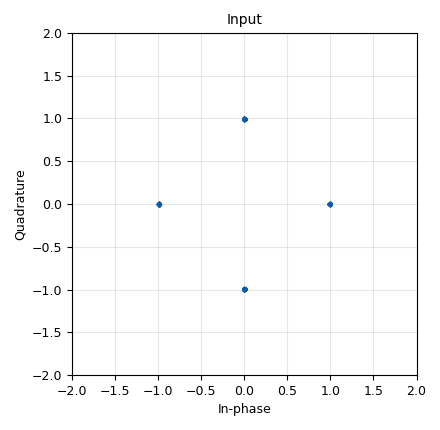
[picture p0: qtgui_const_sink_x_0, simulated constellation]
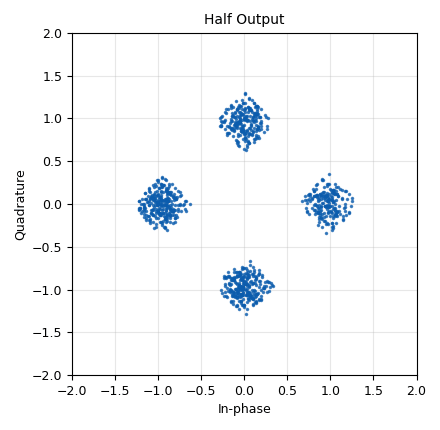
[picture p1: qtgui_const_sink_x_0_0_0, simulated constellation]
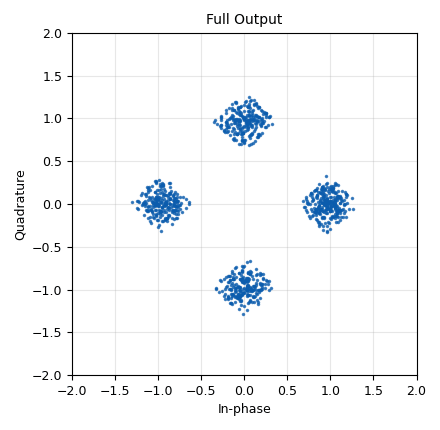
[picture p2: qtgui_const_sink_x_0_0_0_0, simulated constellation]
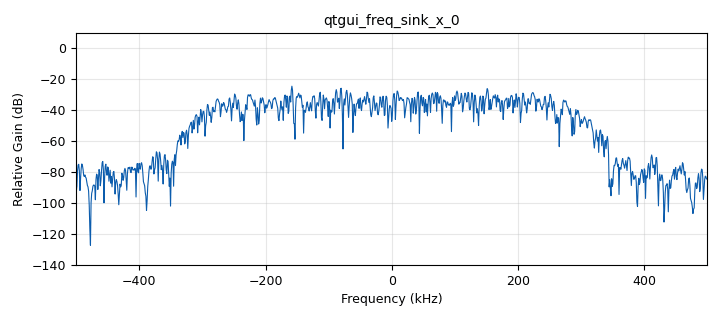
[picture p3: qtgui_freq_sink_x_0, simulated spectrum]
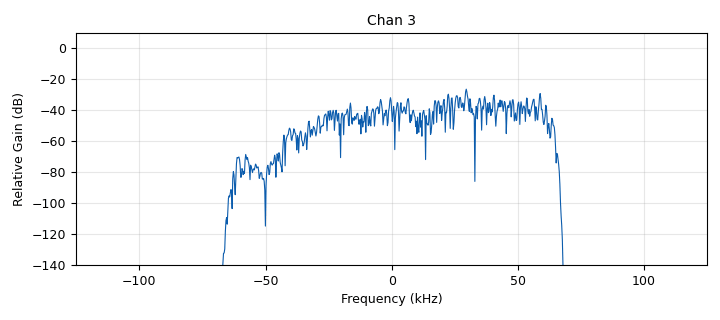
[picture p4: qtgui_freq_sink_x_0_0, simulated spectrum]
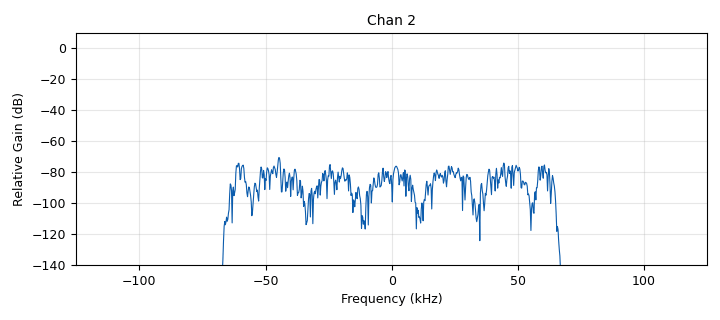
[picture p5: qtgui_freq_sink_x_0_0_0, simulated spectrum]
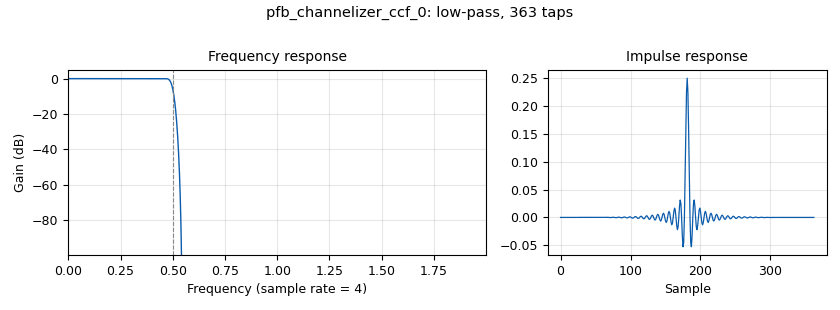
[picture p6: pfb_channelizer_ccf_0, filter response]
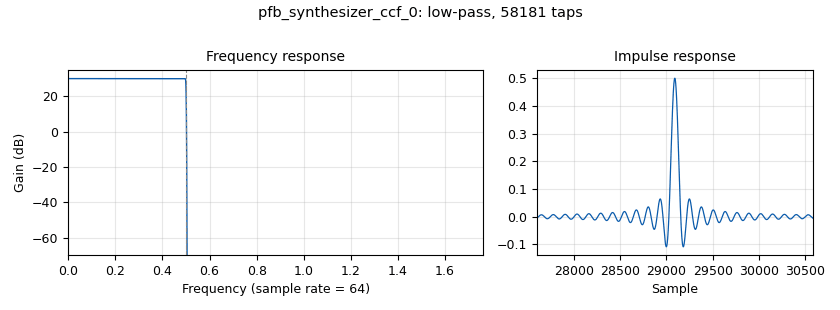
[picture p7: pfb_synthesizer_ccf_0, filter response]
<?xml version='1.0' encoding='utf-8'?>
<?grc format='1' created='3.7.10'?>
<flow_graph>
<block>
<key>options</key>
<param><key>id</key><value>reconstruct1</value></param>
<param><key>category</key><value>Custom</value></param>
<param><key>generate_options</key><value>qt_gui</value></param>
</block>
<block>
<key>variable</key>
<param><key>id</key><value>chan_taps</value></param>
<param><key>value</key><value>firdes.low_pass_2(1,chanz,0.5,0.05,100,5)</value></param>
</block>
<block>
<key>variable</key>
<param><key>id</key><value>chanz</value></param>
<param><key>value</key><value>4</value></param>
</block>
<block>
<key>variable_qtgui_range</key>
<param><key>id</key><value>delay_out</value></param>
<param><key>value</key><value>8</value></param>
<param><key>gui_hint</key><value>tabs@4:2,2,1,1</value></param>
<param><key>label</key><value>Delay Output</value></param>
<param><key>orient</key><value>Qt.Horizontal</value></param>
<param><key>start</key><value>0</value></param>
<param><key>step</key><value>1</value></param>
<param><key>stop</key><value>sps*(synthz/chanz)-1</value></param>
<param><key>rangeType</key><value>int</value></param>
<param><key>widget</key><value>counter</value></param>
</block>
<block>
<key>variable_qtgui_range</key>
<param><key>id</key><value>delay_out_0</value></param>
<param><key>value</key><value>24</value></param>
<param><key>gui_hint</key><value>tabs@4:4,2,1,1</value></param>
<param><key>label</key><value>Delay Output 0</value></param>
<param><key>orient</key><value>Qt.Horizontal</value></param>
<param><key>start</key><value>0</value></param>
<param><key>step</key><value>1</value></param>
<param><key>stop</key><value>sps*(synthz/chanz)*2-1</value></param>
<param><key>rangeType</key><value>int</value></param>
<param><key>widget</key><value>counter</value></param>
</block>
<block>
<key>variable_qtgui_range</key>
<param><key>id</key><value>delay_out_1</value></param>
<param><key>value</key><value>24</value></param>
<param><key>gui_hint</key><value>tabs@4:4,1,1,1</value></param>
<param><key>label</key><value>Delay Output 0</value></param>
<param><key>orient</key><value>Qt.Horizontal</value></param>
<param><key>start</key><value>0</value></param>
<param><key>step</key><value>1</value></param>
<param><key>stop</key><value>sps*(synthz/chanz)*2-1</value></param>
<param><key>rangeType</key><value>int</value></param>
<param><key>widget</key><value>counter</value></param>
</block>
<block>
<key>variable_qtgui_range</key>
<param><key>id</key><value>delay_source</value></param>
<param><key>value</key><value>0</value></param>
<param><key>gui_hint</key><value>tabs@4:2,1,1,1</value></param>
<param><key>label</key><value>Delay Source</value></param>
<param><key>orient</key><value>Qt.Horizontal</value></param>
<param><key>start</key><value>0</value></param>
<param><key>step</key><value>1</value></param>
<param><key>stop</key><value>sps-1</value></param>
<param><key>rangeType</key><value>int</value></param>
<param><key>widget</key><value>counter</value></param>
</block>
<block>
<key>variable</key>
<param><key>id</key><value>len_chan_taps</value></param>
<param><key>value</key><value>len(chan_taps)</value></param>
</block>
<block>
<key>variable</key>
<param><key>id</key><value>len_synth_taps</value></param>
<param><key>value</key><value>len(synth_taps)</value></param>
</block>
<block>
<key>variable</key>
<param><key>id</key><value>len_synth_taps_0</value></param>
<param><key>value</key><value>len(synth_taps_0)</value></param>
</block>
<block>
<key>variable</key>
<param><key>id</key><value>len_synth_taps_1</value></param>
<param><key>value</key><value>len(synth_taps_1)</value></param>
</block>
<block>
<key>variable</key>
<param><key>id</key><value>samp_rate</value></param>
<param><key>value</key><value>1e6</value></param>
</block>
<block>
<key>variable</key>
<param><key>id</key><value>sps</value></param>
<param><key>value</key><value>2</value></param>
</block>
<block>
<key>variable</key>
<param><key>id</key><value>synth_taps</value></param>
<param><key>value</key><value>firdes.low_pass_2(synthz/2,synthz,0.5,0.005,100,5)</value></param>
</block>
<block>
<key>variable</key>
<param><key>id</key><value>synth_taps_0</value></param>
<param><key>value</key><value>firdes.low_pass_2(synthz,synthz,0.5,0.005,100,5)</value></param>
</block>
<block>
<key>variable</key>
<param><key>id</key><value>synth_taps_1</value></param>
<param><key>value</key><value>firdes.low_pass_2(synthz,synthz*2,0.5,0.005,100,5)</value></param>
</block>
<block>
<key>variable</key>
<param><key>id</key><value>synthz</value></param>
<param><key>value</key><value>64</value></param>
</block>
<block>
<key>analog_random_source_x</key>
<param><key>id</key><value>analog_random_source_x_0</value></param>
<param><key>max</key><value>4</value></param>
<param><key>min</key><value>0</value></param>
<param><key>num_samps</key><value>10000000</value></param>
<param><key>type</key><value>int</value></param>
<param><key>repeat</key><value>True</value></param>
</block>
<block>
<key>blocks_add_xx</key>
<param><key>id</key><value>blocks_add_xx_0</value></param>
<param><key>_enabled</key><value>0</value></param>
<param><key>type</key><value>complex</value></param>
</block>
<block>
<key>blocks_delay</key>
<param><key>id</key><value>blocks_delay_0</value></param>
<param><key>delay</key><value>delay_source</value></param>
<param><key>type</key><value>complex</value></param>
</block>
<block>
<key>blocks_delay</key>
<param><key>id</key><value>blocks_delay_0_0</value></param>
<param><key>delay</key><value>delay_out</value></param>
<param><key>type</key><value>complex</value></param>
</block>
<block>
<key>blocks_delay</key>
<param><key>id</key><value>blocks_delay_0_0_0</value></param>
<param><key>delay</key><value>delay_out_0</value></param>
<param><key>type</key><value>complex</value></param>
</block>
<block>
<key>blocks_delay</key>
<param><key>id</key><value>blocks_delay_0_0_0_0</value></param>
<param><key>delay</key><value>delay_out_1</value></param>
<param><key>type</key><value>complex</value></param>
</block>
<block>
<key>blocks_multiply_const_vxx</key>
<param><key>id</key><value>blocks_multiply_const_vxx_0</value></param>
<param><key>const</key><value>-1</value></param>
<param><key>_enabled</key><value>0</value></param>
<param><key>type</key><value>complex</value></param>
</block>
<block>
<key>blocks_throttle</key>
<param><key>id</key><value>blocks_throttle_0</value></param>
<param><key>samples_per_second</key><value>samp_rate</value></param>
<param><key>type</key><value>complex</value></param>
</block>
<block>
<key>digital_chunks_to_symbols_xx</key>
<param><key>id</key><value>digital_chunks_to_symbols_xx_0</value></param>
<param><key>dimension</key><value>1</value></param>
<param><key>in_type</key><value>int</value></param>
<param><key>out_type</key><value>complex</value></param>
<param><key>symbol_table</key><value>[(1),(1j),(-1j),(-1)]</value></param>
</block>
<block>
<key>pfb_channelizer_ccf</key>
<param><key>id</key><value>pfb_channelizer_ccf_0</value></param>
<param><key>atten</key><value>100</value></param>
<param><key>bus_conns</key><value>[range(chanz),]</value></param>
<param><key>ch_map</key><value>range(chanz)</value></param>
<param><key>nchans</key><value>chanz</value></param>
<param><key>osr</key><value>2.0</value></param>
<param><key>taps</key><value>chan_taps</value></param>
</block>
<block>
<key>pfb_synthesizer_ccf</key>
<param><key>id</key><value>pfb_synthesizer_ccf_0</value></param>
<param><key>twox</key><value>True</value></param>
<param><key>bus_conns</key><value>[[0,],]</value></param>
<param><key>ch_map</key><value>range(2)+[synthz*2-1,]</value></param>
<param><key>numchans</key><value>synthz</value></param>
<param><key>connections</key><value>3</value></param>
<param><key>taps</key><value>synth_taps</value></param>
</block>
<block>
<key>pfb_synthesizer_ccf</key>
<param><key>id</key><value>pfb_synthesizer_ccf_0_0</value></param>
<param><key>twox</key><value>True</value></param>
<param><key>bus_conns</key><value>[[0,],]</value></param>
<param><key>ch_map</key><value>range(2)+[synthz*2-1,]</value></param>
<param><key>numchans</key><value>synthz</value></param>
<param><key>connections</key><value>3</value></param>
<param><key>taps</key><value>synth_taps</value></param>
</block>
<block>
<key>qtgui_const_sink_x</key>
<param><key>id</key><value>qtgui_const_sink_x_0</value></param>
<param><key>gui_hint</key><value>tabs@4:1,1,1,1</value></param>
<param><key>name</key><value>"Input"</value></param>
<param><key>size</key><value>1024</value></param>
<param><key>type</key><value>complex</value></param>
</block>
<block>
<key>qtgui_const_sink_x</key>
<param><key>id</key><value>qtgui_const_sink_x_0_0</value></param>
<param><key>gui_hint</key><value>tabs@4:1,2,1,1</value></param>
<param><key>name</key><value>"Output"</value></param>
<param><key>size</key><value>1024</value></param>
<param><key>type</key><value>complex</value></param>
</block>
<block>
<key>qtgui_const_sink_x</key>
<param><key>id</key><value>qtgui_const_sink_x_0_0_0</value></param>
<param><key>gui_hint</key><value>tabs@4:3,2,1,1</value></param>
<param><key>name</key><value>"Half Output"</value></param>
<param><key>size</key><value>1024</value></param>
<param><key>type</key><value>complex</value></param>
</block>
<block>
<key>qtgui_const_sink_x</key>
<param><key>id</key><value>qtgui_const_sink_x_0_0_0_0</value></param>
<param><key>gui_hint</key><value>tabs@4:3,1,1,1</value></param>
<param><key>name</key><value>"Full Output"</value></param>
<param><key>size</key><value>1024</value></param>
<param><key>type</key><value>complex</value></param>
</block>
<block>
<key>qtgui_freq_sink_x</key>
<param><key>id</key><value>qtgui_freq_sink_x_0</value></param>
<param><key>bw</key><value>samp_rate</value></param>
<param><key>fc</key><value>0</value></param>
<param><key>fftsize</key><value>1024</value></param>
<param><key>gui_hint</key><value>tabs@0:1,1,1,1</value></param>
<param><key>showports</key><value>True</value></param>
<param><key>type</key><value>complex</value></param>
<param><key>wintype</key><value>firdes.WIN_BLACKMAN_hARRIS</value></param>
</block>
<block>
<key>qtgui_freq_sink_x</key>
<param><key>id</key><value>qtgui_freq_sink_x_0_0</value></param>
<param><key>bw</key><value>samp_rate/chanz</value></param>
<param><key>fc</key><value>0</value></param>
<param><key>fftsize</key><value>1024</value></param>
<param><key>gui_hint</key><value>tabs@1:2,2,1,1</value></param>
<param><key>name</key><value>"Chan 3"</value></param>
<param><key>showports</key><value>True</value></param>
<param><key>type</key><value>complex</value></param>
<param><key>wintype</key><value>firdes.WIN_BLACKMAN_hARRIS</value></param>
</block>
<block>
<key>qtgui_freq_sink_x</key>
<param><key>id</key><value>qtgui_freq_sink_x_0_0_0</value></param>
<param><key>bw</key><value>samp_rate/chanz</value></param>
<param><key>fc</key><value>0</value></param>
<param><key>fftsize</key><value>1024</value></param>
<param><key>gui_hint</key><value>tabs@1:2,1,1,1</value></param>
<param><key>name</key><value>"Chan 2"</value></param>
<param><key>showports</key><value>True</value></param>
<param><key>type</key><value>complex</value></param>
<param><key>wintype</key><value>firdes.WIN_BLACKMAN_hARRIS</value></param>
</block>
<block>
<key>qtgui_freq_sink_x</key>
<param><key>id</key><value>qtgui_freq_sink_x_0_0_1</value></param>
<param><key>bw</key><value>samp_rate/chanz</value></param>
<param><key>fc</key><value>0</value></param>
<param><key>fftsize</key><value>1024</value></param>
<param><key>gui_hint</key><value>tabs@1:1,2,1,1</value></param>
<param><key>name</key><value>"Chan 1"</value></param>
<param><key>showports</key><value>True</value></param>
<param><key>type</key><value>complex</value></param>
<param><key>wintype</key><value>firdes.WIN_BLACKMAN_hARRIS</value></param>
</block>
<block>
<key>qtgui_freq_sink_x</key>
<param><key>id</key><value>qtgui_freq_sink_x_0_0_2</value></param>
<param><key>bw</key><value>samp_rate/chanz</value></param>
<param><key>fc</key><value>0</value></param>
<param><key>fftsize</key><value>1024</value></param>
<param><key>gui_hint</key><value>tabs@1:1,1,1,1</value></param>
<param><key>name</key><value>"Chan 0"</value></param>
<param><key>showports</key><value>True</value></param>
<param><key>type</key><value>complex</value></param>
<param><key>wintype</key><value>firdes.WIN_BLACKMAN_hARRIS</value></param>
</block>
<block>
<key>qtgui_freq_sink_x</key>
<param><key>id</key><value>qtgui_freq_sink_x_0_1</value></param>
<param><key>bw</key><value>samp_rate/chanz*synthz</value></param>
<param><key>fc</key><value>0</value></param>
<param><key>fftsize</key><value>1024</value></param>
<param><key>gui_hint</key><value>tabs@3:1,1,1,1</value></param>
<param><key>showports</key><value>True</value></param>
<param><key>type</key><value>complex</value></param>
<param><key>wintype</key><value>firdes.WIN_BLACKMAN_hARRIS</value></param>
</block>
<block>
<key>qtgui_freq_sink_x</key>
<param><key>id</key><value>qtgui_freq_sink_x_0_1_0</value></param>
<param><key>bw</key><value>samp_rate/chanz*synthz*2</value></param>
<param><key>fc</key><value>0</value></param>
<param><key>fftsize</key><value>1024</value></param>
<param><key>gui_hint</key><value>tabs@2:1,1,1,1</value></param>
<param><key>name</key><value>"Half Output"</value></param>
<param><key>showports</key><value>True</value></param>
<param><key>type</key><value>complex</value></param>
<param><key>wintype</key><value>firdes.WIN_BLACKMAN_hARRIS</value></param>
</block>
<block>
<key>qtgui_freq_sink_x</key>
<param><key>id</key><value>qtgui_freq_sink_x_0_1_0_0</value></param>
<param><key>bw</key><value>samp_rate/chanz*synthz*2</value></param>
<param><key>fc</key><value>0</value></param>
<param><key>fftsize</key><value>1024</value></param>
<param><key>gui_hint</key><value>tabs@2:1,2,1,1</value></param>
<param><key>name</key><value>"Full Output"</value></param>
<param><key>showports</key><value>True</value></param>
<param><key>type</key><value>complex</value></param>
<param><key>wintype</key><value>firdes.WIN_BLACKMAN_hARRIS</value></param>
</block>
<block>
<key>qtgui_waterfall_sink_x</key>
<param><key>id</key><value>qtgui_waterfall_sink_x_0</value></param>
<param><key>bw</key><value>samp_rate</value></param>
<param><key>fc</key><value>0</value></param>
<param><key>fftsize</key><value>1024</value></param>
<param><key>gui_hint</key><value>tabs@0 : 2,1,1,1</value></param>
<param><key>showports</key><value>True</value></param>
<param><key>type</key><value>complex</value></param>
<param><key>wintype</key><value>firdes.WIN_BLACKMAN_hARRIS</value></param>
</block>
<block>
<key>qtgui_waterfall_sink_x</key>
<param><key>id</key><value>qtgui_waterfall_sink_x_0_0</value></param>
<param><key>bw</key><value>samp_rate/chanz*synthz</value></param>
<param><key>fc</key><value>0</value></param>
<param><key>fftsize</key><value>1024</value></param>
<param><key>gui_hint</key><value>tabs@3 : 2,1,1,1</value></param>
<param><key>showports</key><value>True</value></param>
<param><key>type</key><value>complex</value></param>
<param><key>wintype</key><value>firdes.WIN_BLACKMAN_hARRIS</value></param>
</block>
<block>
<key>qtgui_waterfall_sink_x</key>
<param><key>id</key><value>qtgui_waterfall_sink_x_0_0_0</value></param>
<param><key>bw</key><value>samp_rate/chanz*synthz*2</value></param>
<param><key>fc</key><value>0</value></param>
<param><key>fftsize</key><value>1024</value></param>
<param><key>gui_hint</key><value>tabs@2 : 2,1,1,1</value></param>
<param><key>name</key><value>"Half Output"</value></param>
<param><key>showports</key><value>True</value></param>
<param><key>type</key><value>complex</value></param>
<param><key>wintype</key><value>firdes.WIN_BLACKMAN_hARRIS</value></param>
</block>
<block>
<key>qtgui_waterfall_sink_x</key>
<param><key>id</key><value>qtgui_waterfall_sink_x_0_0_0_0</value></param>
<param><key>bw</key><value>samp_rate/chanz*synthz*2</value></param>
<param><key>fc</key><value>0</value></param>
<param><key>fftsize</key><value>1024</value></param>
<param><key>gui_hint</key><value>tabs@2 : 2,2,1,1</value></param>
<param><key>name</key><value>"Full Output"</value></param>
<param><key>showports</key><value>True</value></param>
<param><key>type</key><value>complex</value></param>
<param><key>wintype</key><value>firdes.WIN_BLACKMAN_hARRIS</value></param>
</block>
<block>
<key>root_raised_cosine_filter</key>
<param><key>id</key><value>root_raised_cosine_filter_0</value></param>
<param><key>alpha</key><value>0.35</value></param>
<param><key>type</key><value>interp_fir_filter_ccf</value></param>
<param><key>gain</key><value>sps</value></param>
<param><key>interp</key><value>sps</value></param>
<param><key>ntaps</key><value>11*(sps)</value></param>
<param><key>samp_rate</key><value>sps</value></param>
<param><key>sym_rate</key><value>1.0</value></param>
</block>
<block>
<key>root_raised_cosine_filter</key>
<param><key>id</key><value>root_raised_cosine_filter_0_0</value></param>
<param><key>alpha</key><value>0.35</value></param>
<param><key>decim</key><value>sps</value></param>
<param><key>type</key><value>fir_filter_ccf</value></param>
<param><key>gain</key><value>1</value></param>
<param><key>interp</key><value>sps</value></param>
<param><key>ntaps</key><value>11*(sps)</value></param>
<param><key>samp_rate</key><value>sps</value></param>
<param><key>sym_rate</key><value>1.0</value></param>
</block>
<block>
<key>root_raised_cosine_filter</key>
<param><key>id</key><value>root_raised_cosine_filter_0_0_0</value></param>
<param><key>alpha</key><value>0.35</value></param>
<param><key>decim</key><value>sps*(synthz/chanz)</value></param>
<param><key>type</key><value>fir_filter_ccf</value></param>
<param><key>gain</key><value>1</value></param>
<param><key>interp</key><value>sps</value></param>
<param><key>ntaps</key><value>11*(sps*(synthz/chanz))</value></param>
<param><key>samp_rate</key><value>sps*(synthz/chanz)</value></param>
<param><key>sym_rate</key><value>1.0</value></param>
</block>
<block>
<key>root_raised_cosine_filter</key>
<param><key>id</key><value>root_raised_cosine_filter_0_0_0_0</value></param>
<param><key>alpha</key><value>0.35</value></param>
<param><key>decim</key><value>sps*(synthz/chanz)*2</value></param>
<param><key>type</key><value>fir_filter_ccf</value></param>
<param><key>gain</key><value>2</value></param>
<param><key>interp</key><value>sps</value></param>
<param><key>ntaps</key><value>11*(sps*(synthz/chanz))*2</value></param>
<param><key>samp_rate</key><value>sps*(synthz/chanz)*2</value></param>
<param><key>sym_rate</key><value>1.0</value></param>
</block>
<block>
<key>root_raised_cosine_filter</key>
<param><key>id</key><value>root_raised_cosine_filter_0_0_0_0_0</value></param>
<param><key>alpha</key><value>0.35</value></param>
<param><key>decim</key><value>sps*(synthz/chanz)*2</value></param>
<param><key>type</key><value>fir_filter_ccf</value></param>
<param><key>gain</key><value>2</value></param>
<param><key>interp</key><value>sps</value></param>
<param><key>ntaps</key><value>11*(sps*(synthz/chanz))*2</value></param>
<param><key>samp_rate</key><value>sps*(synthz/chanz)*2</value></param>
<param><key>sym_rate</key><value>1.0</value></param>
</block>
<block>
<key>synthesis_synthesizer_pfb_ccf</key>
<param><key>id</key><value>synthesis_synthesizer_pfb_ccf_0</value></param>
<param><key>twox</key><value>True</value></param>
<param><key>bus_conns</key><value>[range(4),]</value></param>
<param><key>ch_map</key><value>range(2)+[synthz-1,]</value></param>
<param><key>nfilts</key><value>synthz</value></param>
<param><key>connections</key><value>3</value></param>
<param><key>samp_delay</key><value>0</value></param>
<param><key>taps</key><value>synth_taps</value></param>
</block>
<block>
<key>qtgui_tab_widget</key>
<param><key>id</key><value>tabs</value></param>
<param><key>label0</key><value>Input</value></param>
<param><key>label1</key><value>Channelizer</value></param>
<param><key>label2</key><value>Original Output</value></param>
<param><key>label3</key><value>New Output</value></param>
<param><key>label4</key><value>Constellation</value></param>
<param><key>num_tabs</key><value>5</value></param>
</block>
<connection><source_block_id>analog_random_source_x_0</source_block_id><sink_block_id>digital_chunks_to_symbols_xx_0</sink_block_id><source_key>0</source_key><sink_key>0</sink_key></connection>
<connection><source_block_id>blocks_add_xx_0</source_block_id><sink_block_id>qtgui_const_sink_x_0_0_0</sink_block_id><source_key>0</source_key><sink_key>0</sink_key></connection>
<connection><source_block_id>blocks_delay_0</source_block_id><sink_block_id>root_raised_cosine_filter_0_0</sink_block_id><source_key>0</source_key><sink_key>0</sink_key></connection>
<connection><source_block_id>blocks_delay_0_0</source_block_id><sink_block_id>root_raised_cosine_filter_0_0_0</sink_block_id><source_key>0</source_key><sink_key>0</sink_key></connection>
<connection><source_block_id>blocks_delay_0_0_0</source_block_id><sink_block_id>root_raised_cosine_filter_0_0_0_0</sink_block_id><source_key>0</source_key><sink_key>0</sink_key></connection>
<connection><source_block_id>blocks_delay_0_0_0_0</source_block_id><sink_block_id>root_raised_cosine_filter_0_0_0_0_0</sink_block_id><source_key>0</source_key><sink_key>0</sink_key></connection>
<connection><source_block_id>blocks_multiply_const_vxx_0</source_block_id><sink_block_id>blocks_add_xx_0</sink_block_id><source_key>0</source_key><sink_key>0</sink_key></connection>
<connection><source_block_id>blocks_throttle_0</source_block_id><sink_block_id>blocks_delay_0</sink_block_id><source_key>0</source_key><sink_key>0</sink_key></connection>
<connection><source_block_id>blocks_throttle_0</source_block_id><sink_block_id>pfb_channelizer_ccf_0</sink_block_id><source_key>0</source_key><sink_key>0</sink_key></connection>
<connection><source_block_id>blocks_throttle_0</source_block_id><sink_block_id>qtgui_freq_sink_x_0</sink_block_id><source_key>0</source_key><sink_key>0</sink_key></connection>
<connection><source_block_id>blocks_throttle_0</source_block_id><sink_block_id>qtgui_waterfall_sink_x_0</sink_block_id><source_key>0</source_key><sink_key>0</sink_key></connection>
<connection><source_block_id>digital_chunks_to_symbols_xx_0</source_block_id><sink_block_id>root_raised_cosine_filter_0</sink_block_id><source_key>0</source_key><sink_key>0</sink_key></connection>
<connection><source_block_id>pfb_channelizer_ccf_0</source_block_id><sink_block_id>pfb_synthesizer_ccf_0</sink_block_id><source_key>0</source_key><sink_key>0</sink_key></connection>
<connection><source_block_id>pfb_channelizer_ccf_0</source_block_id><sink_block_id>pfb_synthesizer_ccf_0_0</sink_block_id><source_key>0</source_key><sink_key>0</sink_key></connection>
<connection><source_block_id>pfb_channelizer_ccf_0</source_block_id><sink_block_id>qtgui_freq_sink_x_0_0_2</sink_block_id><source_key>0</source_key><sink_key>0</sink_key></connection>
<connection><source_block_id>pfb_channelizer_ccf_0</source_block_id><sink_block_id>synthesis_synthesizer_pfb_ccf_0</sink_block_id><source_key>0</source_key><sink_key>0</sink_key></connection>
<connection><source_block_id>pfb_channelizer_ccf_0</source_block_id><sink_block_id>pfb_synthesizer_ccf_0</sink_block_id><source_key>1</source_key><sink_key>1</sink_key></connection>
<connection><source_block_id>pfb_channelizer_ccf_0</source_block_id><sink_block_id>pfb_synthesizer_ccf_0_0</sink_block_id><source_key>1</source_key><sink_key>1</sink_key></connection>
<connection><source_block_id>pfb_channelizer_ccf_0</source_block_id><sink_block_id>qtgui_freq_sink_x_0_0_1</sink_block_id><source_key>1</source_key><sink_key>0</sink_key></connection>
<connection><source_block_id>pfb_channelizer_ccf_0</source_block_id><sink_block_id>synthesis_synthesizer_pfb_ccf_0</sink_block_id><source_key>1</source_key><sink_key>1</sink_key></connection>
<connection><source_block_id>pfb_channelizer_ccf_0</source_block_id><sink_block_id>qtgui_freq_sink_x_0_0_0</sink_block_id><source_key>2</source_key><sink_key>0</sink_key></connection>
<connection><source_block_id>pfb_channelizer_ccf_0</source_block_id><sink_block_id>pfb_synthesizer_ccf_0</sink_block_id><source_key>3</source_key><sink_key>2</sink_key></connection>
<connection><source_block_id>pfb_channelizer_ccf_0</source_block_id><sink_block_id>pfb_synthesizer_ccf_0_0</sink_block_id><source_key>3</source_key><sink_key>2</sink_key></connection>
<connection><source_block_id>pfb_channelizer_ccf_0</source_block_id><sink_block_id>qtgui_freq_sink_x_0_0</sink_block_id><source_key>3</source_key><sink_key>0</sink_key></connection>
<connection><source_block_id>pfb_channelizer_ccf_0</source_block_id><sink_block_id>synthesis_synthesizer_pfb_ccf_0</sink_block_id><source_key>3</source_key><sink_key>2</sink_key></connection>
<connection><source_block_id>pfb_synthesizer_ccf_0</source_block_id><sink_block_id>blocks_delay_0_0_0</sink_block_id><source_key>0</source_key><sink_key>0</sink_key></connection>
<connection><source_block_id>pfb_synthesizer_ccf_0</source_block_id><sink_block_id>qtgui_freq_sink_x_0_1_0</sink_block_id><source_key>0</source_key><sink_key>0</sink_key></connection>
<connection><source_block_id>pfb_synthesizer_ccf_0</source_block_id><sink_block_id>qtgui_waterfall_sink_x_0_0_0</sink_block_id><source_key>0</source_key><sink_key>0</sink_key></connection>
<connection><source_block_id>pfb_synthesizer_ccf_0_0</source_block_id><sink_block_id>blocks_delay_0_0_0_0</sink_block_id><source_key>0</source_key><sink_key>0</sink_key></connection>
<connection><source_block_id>pfb_synthesizer_ccf_0_0</source_block_id><sink_block_id>qtgui_freq_sink_x_0_1_0_0</sink_block_id><source_key>0</source_key><sink_key>0</sink_key></connection>
<connection><source_block_id>pfb_synthesizer_ccf_0_0</source_block_id><sink_block_id>qtgui_waterfall_sink_x_0_0_0_0</sink_block_id><source_key>0</source_key><sink_key>0</sink_key></connection>
<connection><source_block_id>root_raised_cosine_filter_0</source_block_id><sink_block_id>blocks_throttle_0</sink_block_id><source_key>0</source_key><sink_key>0</sink_key></connection>
<connection><source_block_id>root_raised_cosine_filter_0_0</source_block_id><sink_block_id>qtgui_const_sink_x_0</sink_block_id><source_key>0</source_key><sink_key>0</sink_key></connection>
<connection><source_block_id>root_raised_cosine_filter_0_0_0</source_block_id><sink_block_id>qtgui_const_sink_x_0_0</sink_block_id><source_key>0</source_key><sink_key>0</sink_key></connection>
<connection><source_block_id>root_raised_cosine_filter_0_0_0_0</source_block_id><sink_block_id>blocks_multiply_const_vxx_0</sink_block_id><source_key>0</source_key><sink_key>0</sink_key></connection>
<connection><source_block_id>root_raised_cosine_filter_0_0_0_0</source_block_id><sink_block_id>qtgui_const_sink_x_0_0_0</sink_block_id><source_key>0</source_key><sink_key>0</sink_key></connection>
<connection><source_block_id>root_raised_cosine_filter_0_0_0_0_0</source_block_id><sink_block_id>blocks_add_xx_0</sink_block_id><source_key>0</source_key><sink_key>1</sink_key></connection>
<connection><source_block_id>root_raised_cosine_filter_0_0_0_0_0</source_block_id><sink_block_id>qtgui_const_sink_x_0_0_0_0</sink_block_id><source_key>0</source_key><sink_key>0</sink_key></connection>
<connection><source_block_id>synthesis_synthesizer_pfb_ccf_0</source_block_id><sink_block_id>blocks_delay_0_0</sink_block_id><source_key>0</source_key><sink_key>0</sink_key></connection>
<connection><source_block_id>synthesis_synthesizer_pfb_ccf_0</source_block_id><sink_block_id>qtgui_freq_sink_x_0_1</sink_block_id><source_key>0</source_key><sink_key>0</sink_key></connection>
<connection><source_block_id>synthesis_synthesizer_pfb_ccf_0</source_block_id><sink_block_id>qtgui_waterfall_sink_x_0_0</sink_block_id><source_key>0</source_key><sink_key>0</sink_key></connection>
</flow_graph>
